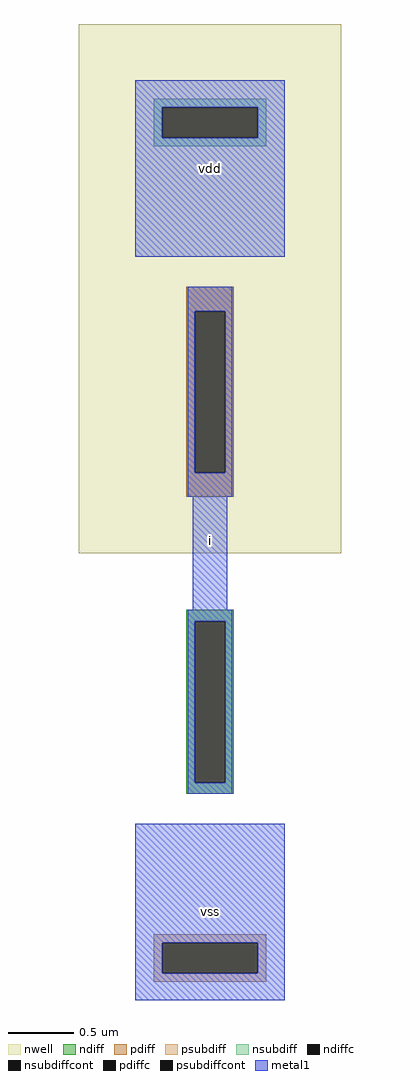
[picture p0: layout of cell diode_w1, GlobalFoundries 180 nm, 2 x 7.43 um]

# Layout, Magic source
magic
tech gf180mcuD
magscale 1 10
<< nwell >>
rect -86 680 314 1486
<< ndiff >>
rect 78 577 150 594
rect 78 331 91 577
rect 137 331 150 577
rect 78 314 150 331
<< pdiff >>
rect 78 1049 150 1086
rect 78 803 91 1049
rect 137 803 150 1049
rect 78 766 150 803
<< ndiffc >>
rect 91 331 137 577
<< pdiffc >>
rect 91 803 137 1049
<< psubdiff >>
rect 28 87 200 100
rect 28 41 41 87
rect 187 41 200 87
rect 28 28 200 41
<< nsubdiff >>
rect 28 1359 200 1372
rect 28 1313 41 1359
rect 187 1313 200 1359
rect 28 1300 200 1313
<< psubdiffcont >>
rect 41 41 187 87
<< nsubdiffcont >>
rect 41 1313 187 1359
<< metal1 >>
rect 0 1359 228 1400
rect 0 1313 41 1359
rect 187 1313 228 1359
rect 0 1132 228 1313
rect 80 1049 148 1086
rect 80 803 91 1049
rect 137 803 148 1049
rect 80 766 148 803
rect 88 594 140 766
rect 80 577 148 594
rect 80 331 91 577
rect 137 331 148 577
rect 80 314 148 331
rect 0 87 228 268
rect 0 41 41 87
rect 187 41 228 87
rect 0 0 228 41
<< labels >>
rlabel metal1 s 0 1132 228 1400 4 vdd
port 3 nsew
rlabel metal1 s 0 0 228 268 4 vss
port 5 nsew
rlabel metal1 s 88 314 140 1086 4 i
port 7 nsew
<< end >>
